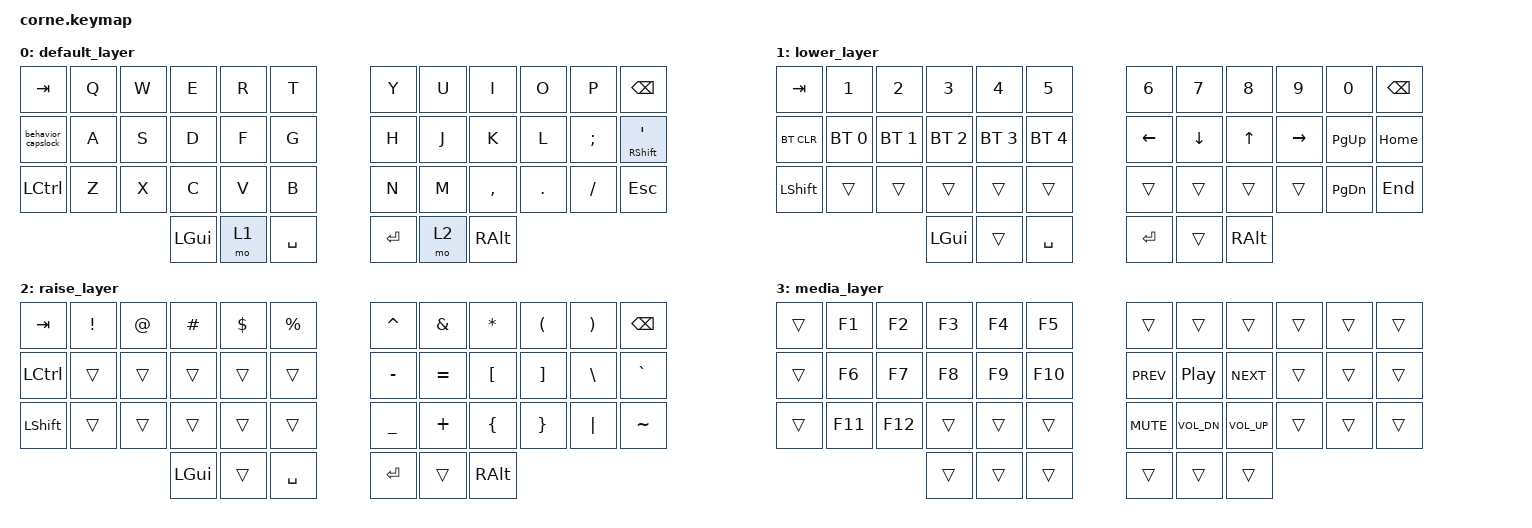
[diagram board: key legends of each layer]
/*
 * Copyright (c) 2020 The ZMK Contributors
 *
 * SPDX-License-Identifier: MIT
 */

#include <behaviors.dtsi>
#include <dt-bindings/zmk/bt.h>
#include <dt-bindings/zmk/keys.h>

/ {
    combos {
        compatible = "zmk,combos";

        qw-esc {
            bindings = <&kp ESCAPE>;
            key-positions = <0 1>;
            layers = <0>;
            timeout-ms = <50>;
        };
    };

    behaviors {
        behavior_capslock: behavior_capslock {
            compatible = "zmk,behavior-tap-dance";
            label = "BEHAVIOR_CAPSLOCK";
            #binding-cells = <0>;
            bindings = <&kp LSHIFT>, <&kp CAPS>;
        };
    };

    keymap {
        compatible = "zmk,keymap";

        default_layer {
            // -----------------------------------------------------------------------------------------
            // |  TAB |  Q  |  W  |  E  |  R  |  T  |   |  Y  |  U   |  I  |  O  |  P  | BSPC |
            // | CTRL |  A  |  S  |  D  |  F  |  G  |   |  H  |  J   |  K  |  L  |  ;  |  '   |
            // | SHFT |  Z  |  X  |  C  |  V  |  B  |   |  N  |  M   |  ,  |  .  |  /  | ESC  |
            //                    | GUI | LWR | SPC |   | ENT | RSE  | ALT |

            bindings = <
&kp TAB             &kp Q  &kp W  &kp E     &kp R  &kp T        &kp Y    &kp U  &kp I      &kp O    &kp P     &kp BSPC
&behavior_capslock  &kp A  &kp S  &kp D     &kp F  &kp G        &kp H    &kp J  &kp K      &kp L    &kp SEMI  &mt RSHIFT SQT
&kp LCTRL           &kp Z  &kp X  &kp C     &kp V  &kp B        &kp N    &kp M  &kp COMMA  &kp DOT  &kp FSLH  &kp ESCAPE
                                  &kp LGUI  &mo 1  &kp SPACE    &kp RET  &mo 2  &kp RALT
            >;
        };

        lower_layer {
            // -----------------------------------------------------------------------------------------
            // |  TAB |  1  |  2  |  3  |  4  |  5  |   |  6  |  7  |  8  |  9  |  0  | BSPC |
            // | BTCLR| BT1 | BT2 | BT3 | BT4 | BT5 |   | LFT | DWN |  UP | RGT |     |      |
            // | SHFT |     |     |     |     |     |   |     |     |     |     |     |      |
            //                    | GUI |     | SPC |   | ENT |     | ALT |

            bindings = <
&kp TAB     &kp N1        &kp N2        &kp N3        &kp N4        &kp N5          &kp N6    &kp N7    &kp N8    &kp N9     &kp N0         &kp BSPC
&bt BT_CLR  &bt BT_SEL 0  &bt BT_SEL 1  &bt BT_SEL 2  &bt BT_SEL 3  &bt BT_SEL 4    &kp LEFT  &kp DOWN  &kp UP    &kp RIGHT  &kp PAGE_UP    &kp HOME
&kp LSHFT   &trans        &trans        &trans        &trans        &trans          &trans    &trans    &trans    &trans     &kp PAGE_DOWN  &kp END
                                        &kp LGUI      &trans        &kp SPACE       &kp RET   &trans    &kp RALT
            >;
        };

        raise_layer {
            // -----------------------------------------------------------------------------------------
            // |  TAB |  !  |  @  |  #  |  $  |  %  |   |  ^  |  &  |  *  |  (  |  )  | BSPC |
            // | CTRL |     |     |     |     |     |   |  -  |  =  |  [  |  ]  |  \  |  `   |
            // | SHFT |     |     |     |     |     |   |  _  |  +  |  {  |  }  | "|" |  ~   |
            //                    | GUI |     | SPC |   | ENT |     | ALT |

            bindings = <
&kp TAB    &kp EXCL  &kp AT  &kp HASH  &kp DLLR  &kp PRCNT    &kp CARET  &kp AMPS   &kp ASTRK  &kp LPAR  &kp RPAR  &kp BSPC
&kp LCTRL  &trans    &trans  &trans    &trans    &trans       &kp MINUS  &kp EQUAL  &kp LBKT   &kp RBKT  &kp BSLH  &kp GRAVE
&kp LSHFT  &trans    &trans  &trans    &trans    &trans       &kp UNDER  &kp PLUS   &kp LBRC   &kp RBRC  &kp PIPE  &kp TILDE
                             &kp LGUI  &trans    &kp SPACE    &kp RET    &trans     &kp RALT
            >;
        };

        media_layer {
            bindings = <
&trans  &kp F1   &kp F2   &kp F3  &kp F4  &kp F5     &trans      &trans            &trans        &trans  &trans  &trans
&trans  &kp F6   &kp F7   &kp F8  &kp F9  &kp F10    &kp C_PREV  &kp C_PLAY_PAUSE  &kp C_NEXT    &trans  &trans  &trans
&trans  &kp F11  &kp F12  &trans  &trans  &trans     &kp C_MUTE  &kp C_VOL_DN      &kp C_VOL_UP  &trans  &trans  &trans
                          &trans  &trans  &trans     &trans      &trans            &trans
            >;
        };
    };

    conditional_layers {
        compatible = "zmk,conditional-layers";

        conditional_layer_media {
            if-layers = <1 2>;
            then-layer = <3>;
        };
    };
};
